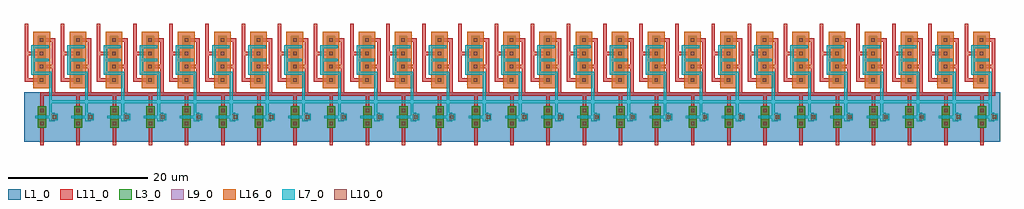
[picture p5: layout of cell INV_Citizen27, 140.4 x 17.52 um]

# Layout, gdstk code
from math import pi, radians
import gdstk
lib = gdstk.Library(unit=1e-6, precision=1e-09)
def R(c, l, rs):  # rectangles x0, y0, x1, y1
    for r in rs: c.add(gdstk.rectangle(r[:2], r[2:], *l))
L1_0 = (1, 0)
L3_0 = (3, 0)
L7_0 = (7, 0)
L9_0 = (9, 0)
L10_0 = (10, 0)
L11_0 = (11, 0)
L16_0 = (16, 0)

dcont = lib.new_cell('dcont')
R(dcont, L3_0, [(-0.6,-0.6,0.6,0.6)])
R(dcont, L10_0, [(-0.25,-0.25,0.25,0.25)])

pch = lib.new_cell('Pch')
R(pch, L3_0, [(0,1.7,6.9,2.9)])
R(pch, L9_0, [(-0.6,1.1,7.5,3.5)])
R(pch, L16_0, [(-0.6,1.1,7.5,3.5)])
pch.add(gdstk.FlexPath([(0.6,1.7),(0.6,2.9)], 1.2, ends="flush", simple_path=True, layer=11, datatype=0))  # L11_0
pch.add(gdstk.FlexPath([(2.5,1.7),(2.5,2.9)], 1.2, ends="flush", simple_path=True, layer=11, datatype=0))  # L11_0
pch.add(gdstk.FlexPath([(4.4,1.7),(4.4,2.9)], 1.2, ends="flush", simple_path=True, layer=11, datatype=0))  # L11_0
pch.add(gdstk.FlexPath([(6.3,1.7),(6.3,2.9)], 1.2, ends="flush", simple_path=True, layer=11, datatype=0))  # L11_0
pch.add(gdstk.FlexPath([(0.6,2.4),(0.6,4)], 0.5, ends="flush", simple_path=True, layer=11, datatype=0))  # L11_0
pch.add(gdstk.FlexPath([(2.5,0.1),(2.5,2.2)], 0.5, ends="flush", simple_path=True, layer=11, datatype=0))  # L11_0
pch.add(gdstk.FlexPath([(4.4,2.4),(4.4,4)], 0.5, ends="flush", simple_path=True, layer=11, datatype=0))  # L11_0
pch.add(gdstk.FlexPath([(0.6,4),(4.4,4)], 0.5, ends="extended", simple_path=True, layer=11, datatype=0))  # L11_0
pch.add(gdstk.FlexPath([(6.3,0.1),(6.3,2.2)], 0.5, ends="flush", simple_path=True, layer=11, datatype=0))  # L11_0
pch.add(gdstk.FlexPath([(2.5,0.1),(6.3,0.1)], 0.5, ends="extended", simple_path=True, layer=11, datatype=0))  # L11_0
pch.add(gdstk.FlexPath([(1.55,1.7),(1.55,2.9)], 0.4, ends=(0.4, 0.4), simple_path=True, layer=7, datatype=0))  # L7_0
pch.add(gdstk.FlexPath([(3.45,1.7),(3.45,2.9)], 0.4, ends=(0.4, 0.4), simple_path=True, layer=7, datatype=0))  # L7_0
pch.add(gdstk.FlexPath([(5.35,1.7),(5.35,2.9)], 0.4, ends=(0.4, 0.4), simple_path=True, layer=7, datatype=0))  # L7_0
pch.add(gdstk.FlexPath([(1.35,1.05),(3.65,1.05)], 0.5, ends="flush", simple_path=True, layer=7, datatype=0))  # L7_0
pch.add(gdstk.FlexPath([(3.25,1.05),(5.55,1.05)], 0.5, ends="flush", simple_path=True, layer=7, datatype=0))  # L7_0
pch.add(gdstk.Reference(dcont, (0.6,2.3)))
pch.add(gdstk.Reference(dcont, (2.5,2.3)))
pch.add(gdstk.Reference(dcont, (4.4,2.3)))
pch.add(gdstk.Reference(dcont, (6.3,2.3)))

pcont = lib.new_cell('pcont')
R(pcont, L7_0, [(-0.45,-0.45,0.45,0.45)])
R(pcont, L10_0, [(-0.25,-0.25,0.25,0.25)])
R(pcont, L11_0, [(-0.45,-0.45,0.45,0.45)])

nch_3 = lib.new_cell('Nch$3')
R(nch_3, L1_0, [(-2,-0.3,5.1,4.9)])
R(nch_3, L3_0, [(0,1.7,3.1,2.9)])
nch_3.add(gdstk.FlexPath([(0.6,1.7),(0.6,2.9)], 1.2, ends="flush", simple_path=True, layer=11, datatype=0))  # L11_0
nch_3.add(gdstk.FlexPath([(2.5,1.7),(2.5,2.9)], 1.2, ends="flush", simple_path=True, layer=11, datatype=0))  # L11_0
nch_3.add(gdstk.FlexPath([(1.55,1.7),(1.55,2.9)], 0.4, ends=(0.4, 0.4), simple_path=True, layer=7, datatype=0))  # L7_0
nch_3.add(gdstk.FlexPath([(1.55,4.1),(1.55,3.3)], 1.2, ends="flush", simple_path=True, layer=7, datatype=0))  # L7_0
nch_3.add(gdstk.Reference(dcont, (0.6,2.3)))
nch_3.add(gdstk.Reference(dcont, (2.5,2.3)))
nch_3.add(gdstk.Reference(pcont, (1.55,4.1)))

inv_citizen_1 = lib.new_cell('INV_Citizen$1')
inv_citizen_1.add(gdstk.FlexPath([(42.34,3.59),(42.34,5.95),(43.99,5.95),(43.99,9.9)], 0.5, ends="flush", simple_path=True, layer=11, datatype=0))  # L11_0
inv_citizen_1.add(gdstk.FlexPath([(42.34,1.7),(42.34,-1.44)], 0.5, ends="flush", simple_path=True, layer=11, datatype=0))  # L11_0
inv_citizen_1.add(gdstk.FlexPath([(40.09,11.8),(40.09,16.08)], 0.5, ends="flush", simple_path=True, layer=11, datatype=0))  # L11_0
inv_citizen_1.add(gdstk.FlexPath([(42.89,8.95),(43.54,8.95),(43.54,2.65)], 0.4, ends="flush", simple_path=True, layer=7, datatype=0))  # L7_0
inv_citizen_1.add(gdstk.Reference(pch, (39.99,14.3), rotation=3*pi/2))
inv_citizen_1.add(gdstk.Reference(nch_3, (40.04,4.2), rotation=3*pi/2))

inv_citizen3 = lib.new_cell('INV_Citizen3')
inv_citizen3.add(gdstk.FlexPath([(51.17,5.93),(59.92,5.93)], 0.5, ends="flush", simple_path=True, layer=11, datatype=0))  # L11_0
inv_citizen3.add(gdstk.FlexPath([(50.72,4.82),(61.12,4.82)], 0.4, ends="flush", simple_path=True, layer=7, datatype=0))  # L7_0
inv_citizen3.add(gdstk.Reference(inv_citizen_1, (7.18,-0.02)))
inv_citizen3.add(gdstk.Reference(inv_citizen_1, (12.38,-0.02)))
inv_citizen3.add(gdstk.Reference(inv_citizen_1, (17.58,-0.02)))

inv_citizen9 = lib.new_cell('INV_Citizen9')
inv_citizen9.add(gdstk.FlexPath([(99.61,6.46),(103.16,6.46)], 0.5, ends="flush", simple_path=True, layer=11, datatype=0))  # L11_0
inv_citizen9.add(gdstk.FlexPath([(84.01,6.46),(87.56,6.46)], 0.5, ends="flush", simple_path=True, layer=11, datatype=0))  # L11_0
inv_citizen9.add(gdstk.FlexPath([(83.56,5.35),(88.76,5.35),(88.76,5.34),(88.76,5.34)], 0.4, ends="flush", simple_path=True, layer=7, datatype=0))  # L7_0
inv_citizen9.add(gdstk.FlexPath([(99.16,5.35),(104.36,5.35)], 0.4, ends="flush", simple_path=True, layer=7, datatype=0))  # L7_0
inv_citizen9.add(gdstk.Reference(inv_citizen3, (53.64,0.53)))
inv_citizen9.add(gdstk.Reference(inv_citizen3, (38.04,0.53)))
inv_citizen9.add(gdstk.Reference(inv_citizen3, (22.44,0.53)))

inv_citizen27 = lib.new_cell('INV_Citizen27')
inv_citizen27.add(gdstk.FlexPath([(187.38,6.7),(190.93,6.7)], 0.5, ends="flush", simple_path=True, layer=11, datatype=0))  # L11_0
inv_citizen27.add(gdstk.FlexPath([(234.19,6.7),(237.74,6.7)], 0.5, ends="flush", simple_path=True, layer=11, datatype=0))  # L11_0
inv_citizen27.add(gdstk.FlexPath([(233.73,5.59),(238.93,5.59)], 0.4, ends="flush", simple_path=True, layer=7, datatype=0))  # L7_0
inv_citizen27.add(gdstk.FlexPath([(186.93,5.59),(192.13,5.59)], 0.4, ends="flush", simple_path=True, layer=7, datatype=0))  # L7_0
inv_citizen27.add(gdstk.Reference(inv_citizen9, (165.77,0.24)))
inv_citizen27.add(gdstk.Reference(inv_citizen9, (72.17,0.24)))
inv_citizen27.add(gdstk.Reference(inv_citizen9, (118.97,0.24)))

lib.write_gds('INV_Citizen27.gds')
